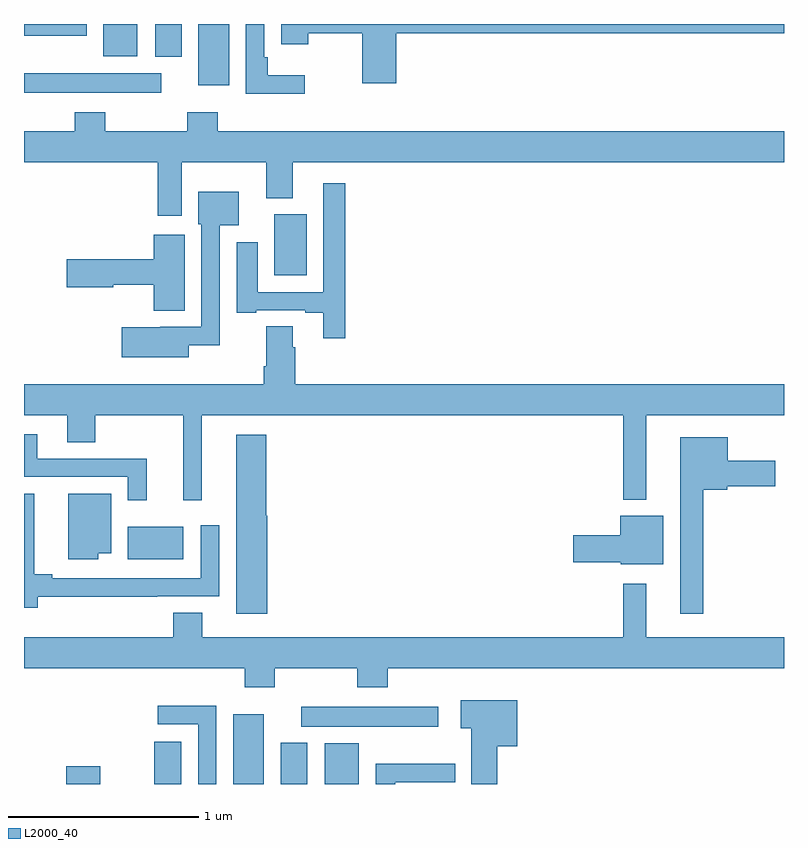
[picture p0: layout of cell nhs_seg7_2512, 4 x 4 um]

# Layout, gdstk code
import gdstk
lib = gdstk.Library(unit=1e-6, precision=1e-09)
def R(c, l, rs):  # rectangles x0, y0, x1, y1
    for r in rs: c.add(gdstk.rectangle(r[:2], r[2:], *l))
def P(c, l, *ps):  # polygons
    for p in ps: c.add(gdstk.Polygon(p, *l))
L2000_40 = (2000, 40)

nhs_seg7_2512 = lib.new_cell('nhs_seg7_2512')
R(nhs_seg7_2512, L2000_40, [(275.222,1008,275.4,1008.094), (275.686,1008,275.827,1008.223), (276.101,1008,276.262,1008.367), (276.35,1008,276.49,1008.217), (276.584,1008,276.763,1008.214), (276.459,1008.302,277.18,1008.406), (275.546,1009.184,275.839,1009.354), (276.317,1010.678,276.487,1010.998), (275.001,1011.638,275.722,1011.742), (275.918,1011.678,276.079,1012), (275.69,1011.827,275.83,1012), (275.417,1011.83,275.596,1012), (275,1011.938,275.329,1012)])
P(nhs_seg7_2512, L2000_40, [(276.959,1011.952),(279,1011.952),(279,1012),(276.353,1012),(276.353,1011.894),(276.495,1011.894),(276.495,1011.952),(276.781,1011.952),(276.781,1011.687),(276.959,1011.687)],
  [(276.478,1011.73),(276.284,1011.73),(276.284,1011.826),(276.264,1011.826),(276.264,1012),(276.168,1012),(276.168,1011.632),(276.478,1011.632)],
  [(275.83,1011.272),(276.275,1011.272),(276.275,1011.083),(276.415,1011.083),(276.415,1011.272),(279,1011.272),(279,1011.436),(276.02,1011.436),(276.02,1011.535),(275.86,1011.535),(275.86,1011.436),(275.427,1011.436),(275.427,1011.535),(275.267,1011.535),(275.267,1011.436),(275,1011.436),(275,1011.272),(275.705,1011.272),(275.705,1010.991),(275.83,1010.991)],
  [(276.692,1011.163),(276.576,1011.163),(276.576,1010.589),(276.229,1010.589),(276.229,1010.851),(276.119,1010.851),(276.119,1010.481),(276.223,1010.481),(276.223,1010.493),(276.479,1010.493),(276.479,1010.481),(276.575,1010.481),(276.575,1010.346),(276.692,1010.346)],
  [(275.866,1010.309),(276.03,1010.309),(276.03,1010.942),(276.13,1010.942),(276.13,1011.118),(275.918,1011.118),(275.918,1010.946),(275.934,1010.946),(275.934,1010.406),(275.718,1010.406),(275.718,1010.404),(275.514,1010.404),(275.514,1010.246),(275.866,1010.246)],
  [(275.845,1010.89),(275.684,1010.89),(275.684,1010.762),(275.226,1010.762),(275.226,1010.615),(275.469,1010.615),(275.469,1010.627),(275.684,1010.627),(275.684,1010.491),(275.845,1010.491)],
  [(275.936,1009.94),(278.154,1009.94),(278.154,1009.496),(278.275,1009.496),(278.275,1009.94),(279,1009.94),(279,1010.104),(276.428,1010.104),(276.428,1010.3),(276.415,1010.3),(276.415,1010.408),(276.275,1010.408),(276.275,1010.2),(276.263,1010.2),(276.263,1010.104),(275,1010.104),(275,1009.94),(275.228,1009.94),(275.228,1009.798),(275.376,1009.798),(275.376,1009.94),(275.837,1009.94),(275.837,1009.494),(275.936,1009.494)],
  [(275.645,1009.713),(275.071,1009.713),(275.071,1009.84),(275,1009.84),(275,1009.617),(275.547,1009.617),(275.547,1009.494),(275.645,1009.494)],
  [(276.28,1009.413),(276.275,1009.413),(276.275,1009.837),(276.116,1009.837),(276.116,1008.897),(276.28,1008.897)],
  [(278.575,1009.55),(278.7,1009.55),(278.7,1009.568),(278.953,1009.568),(278.953,1009.702),(278.704,1009.702),(278.704,1009.825),(278.453,1009.825),(278.453,1008.897),(278.575,1008.897)],
  [(275.392,1009.214),(275.458,1009.214),(275.458,1009.528),(275.234,1009.528),(275.234,1009.184),(275.392,1009.184)],
  [(275.072,1008.986),(275.702,1008.986),(275.702,1008.987),(276.027,1008.987),(276.027,1009.363),(275.931,1009.363),(275.931,1009.083),(275.149,1009.083),(275.149,1009.103),(275.054,1009.103),(275.054,1009.527),(275,1009.527),(275,1008.927),(275.072,1008.927)],
  [(278.365,1009.411),(278.138,1009.411),(278.138,1009.31),(277.89,1009.31),(277.89,1009.168),(278.142,1009.168),(278.142,1009.157),(278.365,1009.157)],
  [(275.938,1008.902),(275.786,1008.902),(275.786,1008.772),(275,1008.772),(275,1008.608),(276.161,1008.608),(276.161,1008.509),(276.321,1008.509),(276.321,1008.608),(276.754,1008.608),(276.754,1008.509),(276.914,1008.509),(276.914,1008.608),(279,1008.608),(279,1008.772),(278.275,1008.772),(278.275,1009.054),(278.154,1009.054),(278.154,1008.772),(275.938,1008.772)],
  [(277.49,1008.2),(277.597,1008.2),(277.597,1008.442),(277.299,1008.442),(277.299,1008.293),(277.355,1008.293),(277.355,1008),(277.49,1008)],
  [(276.012,1008.413),(275.703,1008.413),(275.703,1008.315),(275.916,1008.315),(275.916,1008),(276.012,1008)],
  [(276.955,1008.009),(277.27,1008.009),(277.27,1008.107),(276.851,1008.107),(276.851,1008),(276.955,1008)])

lib.write_gds('nhs_seg7_2512.gds')
